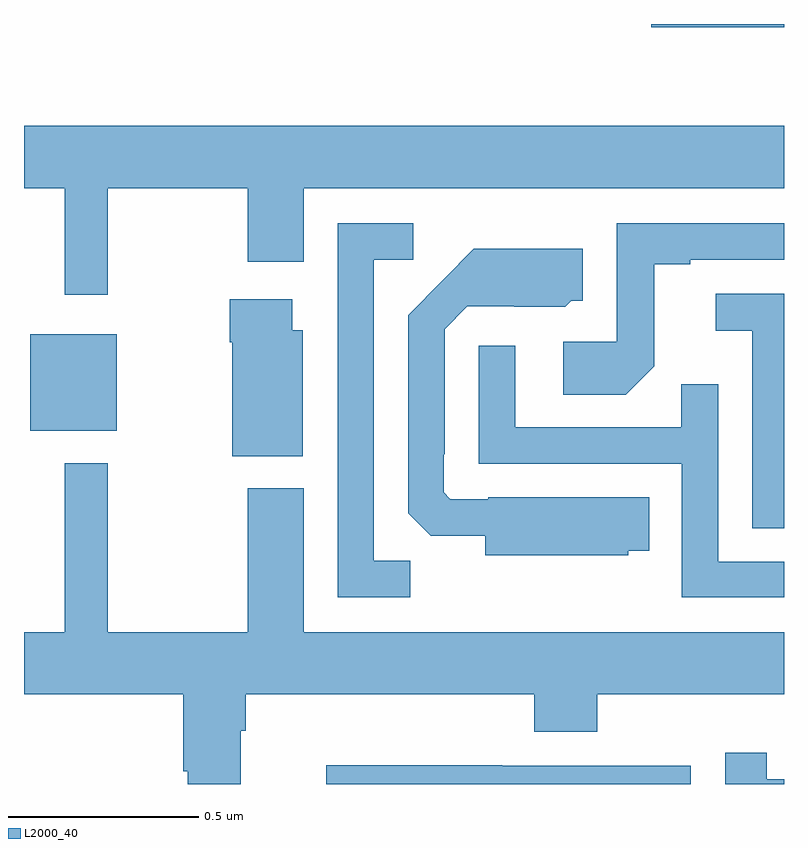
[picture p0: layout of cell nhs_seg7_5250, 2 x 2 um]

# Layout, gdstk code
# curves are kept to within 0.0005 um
import gdstk
lib = gdstk.Library(unit=1e-6, precision=1e-09)
def R(c, l, rs):  # rectangles x0, y0, x1, y1
    for r in rs: c.add(gdstk.rectangle(r[:2], r[2:], *l))
def P(c, l, *ps):  # polygons
    for p in ps: c.add(gdstk.Polygon(p, *l))
L2000_40 = (2000, 40)

nhs_seg7_5250 = lib.new_cell('nhs_seg7_5250')
R(nhs_seg7_5250, L2000_40, [(183.017,1047.929,183.244,1048.183), (184.65,1048.991,185,1049)])
P(nhs_seg7_5250, L2000_40, [(183.221,1048.568),(183.589,1048.568),(183.589,1048.374),(183.736,1048.374),(183.736,1048.568),(185,1048.568),(185,1048.732),(183,1048.732),(183,1048.568),(183.107,1048.568),(183.107,1048.287),(183.221,1048.287)],
  [(184.017,1047.587),(183.921,1047.587),(183.921,1048.38),(184.024,1048.38),(184.024,1048.476),(183.825,1048.476),(183.825,1047.492),(184.017,1047.492)],
  [(184.659,1048.1),(184.659,1048.368),(184.753,1048.368),(184.753,1048.38),(185,1048.38),(185,1048.476),(184.56,1048.476),(184.56,1048.164),(184.419,1048.164),(184.419,1048.024),(184.583,1048.024)],
  [(184.59,1047.614),(184.646,1047.614),(184.646,1047.754),(184.222,1047.754),(184.222,1047.75),(184.122,1047.75),(184.104,1047.768),(184.104,1047.868),(184.107,1047.868),(184.107,1048.197),(184.167,1048.257),(184.29,1048.257),(184.29,1048.256),(184.424,1048.256),(184.44,1048.272),(184.471,1048.272),(184.471,1048.408),(184.183,1048.408),(184.011,1048.234),(184.011,1047.712),(184.07,1047.653),(184.214,1047.653),(184.214,1047.602),(184.59,1047.602)],
  [(185,1048.29),(184.821,1048.29),(184.821,1048.193),(184.917,1048.193),(184.917,1047.673),(185,1047.673)],
  [(183.733,1048.194),(183.706,1048.194),(183.706,1048.276),(183.541,1048.276),(183.541,1048.163),(183.548,1048.163),(183.548,1047.863),(183.733,1047.863)],
  [(185,1047.585),(184.827,1047.585),(184.827,1048.052),(184.729,1048.052),(184.729,1047.939),(184.293,1047.939),(184.293,1048.153),(184.197,1048.153),(184.197,1047.843),(184.731,1047.843),(184.731,1047.492),(185,1047.492)],
  [(183.571,1047.14),(183.584,1047.14),(183.584,1047.236),(184.343,1047.236),(184.343,1047.137),(184.508,1047.137),(184.508,1047.236),(185,1047.236),(185,1047.4),(183.736,1047.4),(183.736,1047.778),(183.589,1047.778),(183.589,1047.4),(183.221,1047.4),(183.221,1047.844),(183.107,1047.844),(183.107,1047.4),(183,1047.4),(183,1047.236),(183.419,1047.236),(183.419,1047.034),(183.431,1047.034),(183.431,1047),(183.571,1047)],
  [(185,1047.012),(184.954,1047.012),(184.954,1047.082),(184.845,1047.082),(184.845,1047),(185,1047)],
  [(184.755,1047.048),(184.259,1047.048),(184.259,1047.05),(183.796,1047.05),(183.796,1047),(184.755,1047)])

lib.write_gds('nhs_seg7_5250.gds')
